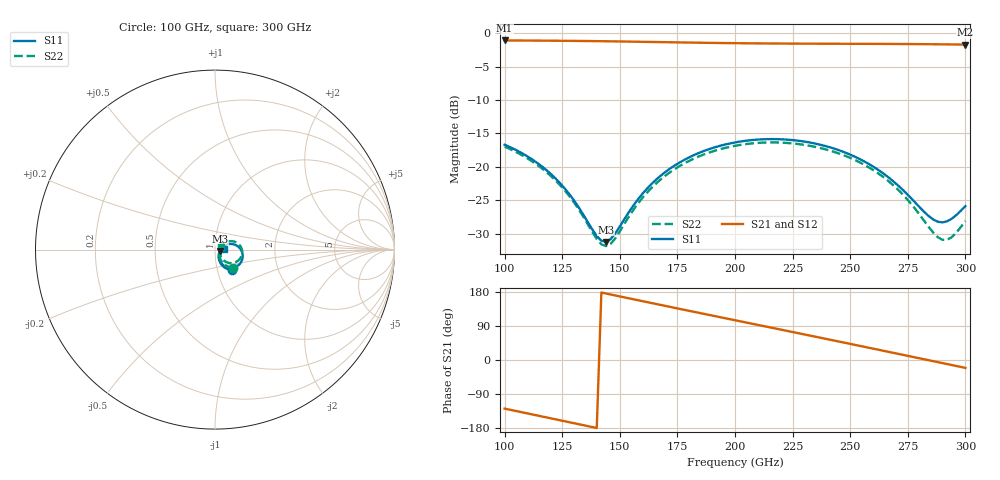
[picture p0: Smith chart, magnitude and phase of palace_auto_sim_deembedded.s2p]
! Created with skrf 1.11.0 (http://scikit-rf.org).
# GHz S DB R 50.0
!freq dBS11 angS11 dBS21 angS21 dBS12 angS12 dBS22 angS22
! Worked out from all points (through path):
!   101 points, 100 GHz to 300 GHz, reference 50 ohm
!   highest |S21| = -1.10 dB at 100 GHz (marker M1); lowest = -1.7 dB at 300 GHz (marker M2)
!   group delay of S21, straight-line fit = 3.5 ps
!   lowest |S11| = -31.2 dB at 144 GHz (marker M3), VSWR 1.06, Z = 52.7 - j0.975 ohm
!   |S11| at or under -10 dB: start of sweep to end of sweep
!   |S22| runs from -31.8 to -16.3 dB; largest |S21 - S12| = 1.5e-13
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100  -16.68 -51.0  -1.10 -128.3  -1.10 -128.3  -16.97 -45.0
110  -18.45 -60.0  -1.11 -141.1  -1.11 -141.1  -18.74 -53.4
120  -21.04 -66.8  -1.13 -153.8  -1.13 -153.8  -21.33 -59.7
128  -24.03 -68.3  -1.15 -164.1  -1.15 -164.1  -24.32 -60.9
134  -27.04 -63.0  -1.18 -171.8  -1.18 -171.8  -27.35 -55.8
140  -30.34 -43.5  -1.20 -179.4  -1.20 -179.4  -30.77 -36.9
144  -31.21 -19.6  -1.22 175.5  -1.22 175.5  -31.85 -12.5
148  -29.96 2.6  -1.24 170.4  -1.24 170.4  -30.70 11.2
160  -23.94 23.0  -1.30 155.1  -1.30 155.1  -24.55 33.7
168  -21.24 21.0  -1.34 145.0  -1.34 145.0  -21.80 32.4
184  -17.96 9.0  -1.43 124.9  -1.43 124.9  -18.48 21.3
200  -16.34 -6.3  -1.50 105.0  -1.50 105.0  -16.84 6.8
216  -15.84 -22.5  -1.55 85.1  -1.55 85.1  -16.34 -8.6
224  -15.96 -30.5  -1.57 75.1  -1.57 75.1  -16.46 -16.4
234  -16.45 -40.4  -1.58 62.6  -1.58 62.6  -16.95 -25.9
252  -18.47 -56.2  -1.60 40.0  -1.60 40.0  -18.96 -41.8
268  -21.95 -64.3  -1.62 19.8  -1.62 19.8  -22.53 -51.4
276  -24.52 -61.7  -1.63 9.6  -1.63 9.6  -25.34 -50.8
284  -27.33 -47.7  -1.66 -0.5  -1.66 -0.5  -28.94 -38.7
290  -28.29 -27.1  -1.68 -8.1  -1.68 -8.1  -30.90 -14.2
294  -27.76 -12.8  -1.69 -13.2  -1.69 -13.2  -30.52 5.8
300  -25.86 1.6  -1.71 -20.8  -1.71 -20.8  -28.08 25.4
